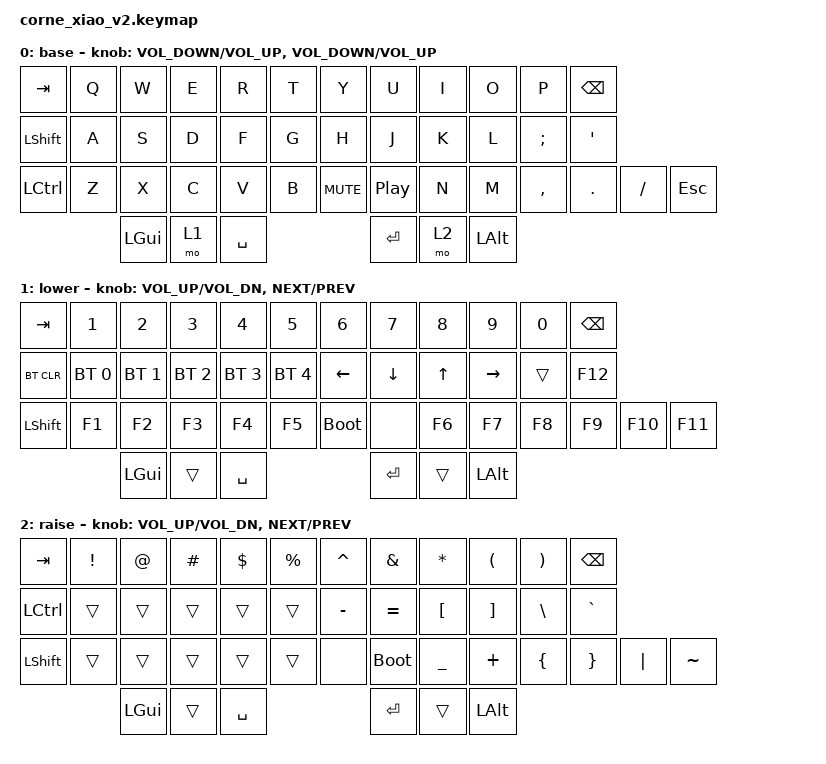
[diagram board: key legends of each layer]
#include <behaviors.dtsi>
#include <dt-bindings/zmk/bt.h>
#include <dt-bindings/zmk/keys.h>

/ {
    combos {
        compatible = "zmk,combos";

        combo_studio_unlock {
            timeout-ms = <50>;
            key-positions = <1 2>;
            bindings = <&studio_unlock>;
        };
    };
};

/ {
    keymap {
        compatible = "zmk,keymap";

        default_layer {
            display-name = "base";
            sensor-bindings =
                <&inc_dec_kp C_VOLUME_DOWN C_VOLUME_UP>,
                <&inc_dec_kp C_VOLUME_DOWN C_VOLUME_UP>;

            // -------------------------------------------------------------------------------------------------
            // |  TAB |  Q  |  W  |  E  |  R  |  T  |                    |  Y  |  U   |  I  |  O  |  P  | BKSP |
            // | CTRL |  A  |  S  |  D  |  F  |  G  |                    |  H  |  J   |  K  |  L  |  ;  |  '   |
            // | SHFT |  Z  |  X  |  C  |  V  |  B  |  MUTE  |  |        |  N  |  M   |  ,  |  .  |  /  | ESC  |
            //                    | GUI | LWR | SPC |                    | ENT | RSE  | ALT |

            bindings = <
&kp TAB         &kp Q  &kp W     &kp E  &kp R      &kp T  &kp Y       &kp U     &kp I  &kp O     &kp P      &kp BSPC
&kp LEFT_SHIFT  &kp A  &kp S     &kp D  &kp F      &kp G  &kp H       &kp J     &kp K  &kp L     &kp SEMI   &kp SQT
&kp LCTRL       &kp Z  &kp X     &kp C  &kp V      &kp B  &kp C_MUTE  &kp C_PP  &kp N  &kp M     &kp COMMA  &kp DOT   &kp FSLH  &kp ESC
                       &kp LGUI  &mo 1  &kp SPACE                     &kp RET   &mo 2  &kp LALT
            >;
        };

        lower_layer {
            display-name = "lower";
            sensor-bindings = <&inc_dec_kp C_VOL_UP C_VOL_DN &inc_dec_kp C_NEXT C_PREV>;

            // ------------------------------------------------------------------------------------------------
            // |  TAB |  1  |  2  |  3  |  4  |  5  |                    |  6  |  7  |  8  |  9  |  0  | BKSP |
            // | BTCLR| BT1 | BT2 | BT3 | BT4 | BT5 |                    | LFT | DWN |  UP | RGT |     |  F12 |
            // | SHFT | F1  | F2  | F3  | F4  | F5  |  boot  |  |        |  F6 | F7  | F8  | F9  | F10 |  F11 |
            //                    | GUI |     | SPC |                    | ENT |     | ALT |

            bindings = <
&kp TAB     &kp N1        &kp N2        &kp N3        &kp N4        &kp N5        &kp N6       &kp N7    &kp N8  &kp N9     &kp N0  &kp BSPC
&bt BT_CLR  &bt BT_SEL 0  &bt BT_SEL 1  &bt BT_SEL 2  &bt BT_SEL 3  &bt BT_SEL 4  &kp LEFT     &kp DOWN  &kp UP  &kp RIGHT  &trans  &kp F12
&kp LSHFT   &kp F1        &kp F2        &kp F3        &kp F4        &kp F5        &bootloader  &none     &kp F6  &kp F7     &kp F8  &kp F9    &kp F10  &kp F11
                          &kp LGUI      &trans        &kp SPACE                                &kp RET   &trans  &kp LALT
            >;
        };

        raise_layer {
            display-name = "raise";
            sensor-bindings = <&inc_dec_kp C_VOL_UP C_VOL_DN &inc_dec_kp C_NEXT C_PREV>;

            // ------------------------------------------------------------------------------------------------
            // |  TAB |  !  |  @  |  #  |  $  |  %  |                    |  ^  |  &  |  *  |  (  |  )  | BKSP |
            // | CTRL |     |     |     |     |     |                    |  -  |  =  |  [  |  ]  |  \  |  `   |
            // | SHFT |     |     |     |     |     |        |  |  boot  |  _  |  +  |  {  |  }  | "|" |  ~   |
            //                    | GUI |     | SPC |                    | ENT |     | ALT |

            bindings = <
&kp TAB    &kp EXCL  &kp AT    &kp HASH  &kp DLLR   &kp PRCNT  &kp CARET  &kp AMPS     &kp ASTERISK  &kp LPAR  &kp RPAR  &kp BSPC
&kp LCTRL  &trans    &trans    &trans    &trans     &trans     &kp MINUS  &kp EQUAL    &kp LBKT      &kp RBKT  &kp BSLH  &kp GRAVE
&kp LSHFT  &trans    &trans    &trans    &trans     &trans     &none      &bootloader  &kp UNDER     &kp PLUS  &kp LBRC  &kp RBRC   &kp PIPE  &kp TILDE
                     &kp LGUI  &trans    &kp SPACE                        &kp RET      &trans        &kp LALT
            >;
        };

        extra1 {
            display-name = "extra1";
            status = "reserved";
        };

        extra2 {
            display-name = "extra2";
            status = "reserved";
        };
    };
};
